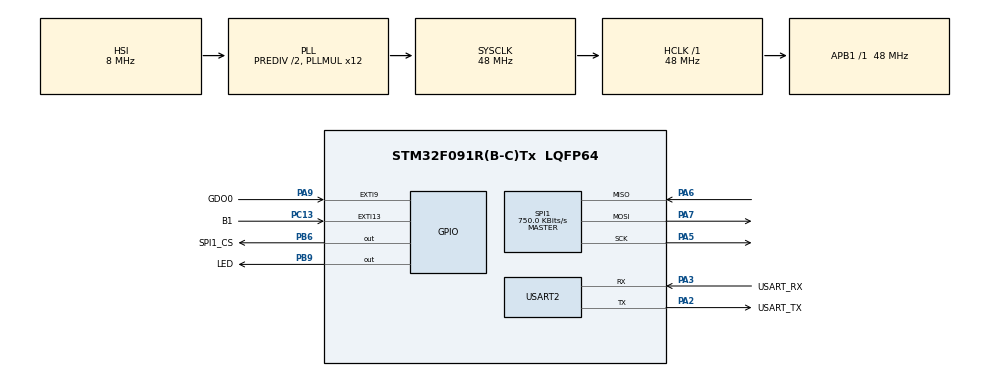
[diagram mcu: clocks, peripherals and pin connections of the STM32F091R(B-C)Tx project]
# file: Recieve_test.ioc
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Mcu.Family=STM32F0
Mcu.Name=STM32F091R(B-C)Tx
Mcu.Package=LQFP64
NVIC.EXTI4_15_IRQn=true\:0\:0\:false\:false\:true\:true\:true\:true
PA13.GPIO_Label=TMS
PA13.Mode=Serial_Wire
PA13.Signal=SYS_SWDIO
PA14.GPIO_Label=TCK
PA14.Mode=Serial_Wire
PA14.Signal=SYS_SWCLK
PA2.GPIO_Label=USART_TX
PA2.GPIO_Mode=GPIO_MODE_AF_PP
PA2.GPIO_PuPd=GPIO_NOPULL
PA2.GPIO_Speed=GPIO_SPEED_FREQ_LOW
PA2.Mode=Asynchronous
PA2.Signal=USART2_TX
PA3.GPIO_Label=USART_RX
PA3.GPIO_Mode=GPIO_MODE_AF_PP
PA3.GPIO_PuPd=GPIO_NOPULL
PA3.GPIO_Speed=GPIO_SPEED_FREQ_LOW
PA3.Mode=Asynchronous
PA3.Signal=USART2_RX
PA5.Mode=Full_Duplex_Master
PA5.Signal=SPI1_SCK
PA6.Mode=Full_Duplex_Master
PA6.Signal=SPI1_MISO
PA7.Mode=Full_Duplex_Master
PA7.Signal=SPI1_MOSI
PA9.GPIO_Label=GDO0
PA9.GPIO_ModeDefaultEXTI=GPIO_MODE_IT_RISING
PA9.Signal=GPXTI9
PB6.GPIO_Label=SPI1_CS
PB6.PinState=GPIO_PIN_SET
PB6.Signal=GPIO_Output
PB9.GPIO_Label=LED
PB9.Signal=GPIO_Output
PC13.GPIO_Label=B1
PC13.GPIO_ModeDefaultEXTI=GPIO_MODE_IT_FALLING
PC13.Signal=GPXTI13
PC14OSC32_IN.Mode=LSE-External-Oscillator
PC14OSC32_IN.Signal=RCC_OSC32_IN
PC15OSC32_OUT.Mode=LSE-External-Oscillator
PC15OSC32_OUT.Signal=RCC_OSC32_OUT
PF0-OSC_IN.Mode=HSE-External-Clock-Source
PF0-OSC_IN.Signal=RCC_OSC_IN
PF1-OSC_OUT.Signal=RCC_OSC_OUT
ProjectManager.HeapSize=0x200
ProjectManager.StackSize=0x400
ProjectManager.TargetToolchain=STM32CubeIDE
RCC.AHBFreq_Value=48000000
RCC.APB1Freq_Value=48000000
RCC.APB1TimFreq_Value=48000000
RCC.FLatency-AdvancedSettings=FLASH_LATENCY_1
RCC.HCLKFreq_Value=48000000
RCC.PLLDivider=RCC_PREDIV_DIV2
RCC.PLLMUL=RCC_PLL_MUL12
RCC.PREFETCH_ENABLE-AdvancedSettings=1
RCC.SYSCLKFreq_VALUE=48000000
RCC.SYSCLKSource=RCC_SYSCLKSOURCE_PLLCLK
SPI1.BaudRatePrescaler=SPI_BAUDRATEPRESCALER_64
SPI1.CalculateBaudRate=750.0 KBits/s
SPI1.DataSize=SPI_DATASIZE_8BIT
SPI1.Direction=SPI_DIRECTION_2LINES
SPI1.Mode=SPI_MODE_MASTER
SPI1.NSSPMode=SPI_NSS_PULSE_DISABLE
SPI1.VirtualType=VM_MASTER
TIM16.Period=65536-1
TIM16.Prescaler=192-1
USART2.VirtualMode=VM_ASYNC
USART2.VirtualMode-Asynchronous=VM_ASYNC
VP_TIM16_VS_ClockSourceINT.Mode=Enable_Timer
board=NUCLEO-F091RC

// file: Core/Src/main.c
/* USER CODE BEGIN Header */
/**
  ******************************************************************************
  * @file           : main.c
  * @brief          : Main program body
  ******************************************************************************
  * @attention
  *
  * <h2><center>&copy; Copyright (c) 2021 STMicroelectronics.
  * All rights reserved.</center></h2>
  *
  * This software component is licensed by ST under BSD 3-Clause license,
  * the "License"; You may not use this file except in compliance with the
  * License. You may obtain a copy of the License at:
  *                        opensource.org/licenses/BSD-3-Clause
  *
  ******************************************************************************
  */
/* USER CODE END Header */

#include "main.h"

/* USER CODE BEGIN Includes */
#include <stdio.h>
#include <string.h>
#include <time.h>
/* USER CODE END Includes */

/* USER CODE BEGIN PD */

// FIFO REGISTERS
#define TX_FIFO        0x3F
#define RX_FIF0 	   0x3F

//REGISTER TYPES
#define STATUS_REGISTER  0xC0
#define CONFIG_REGISTER  0x80

//HEADERS (for read and write commands)
// No special header for write single since its header is zero
#define WRITE_BURST              0x40
#define READ_SINGLE              0x80
#define READ_BURST               0xC0

// COMMAND STROBES
#define STX                      0x35
#define SFTX					 0x3B
#define SRX               		 0x34
#define SFRX					 0x3A
#define SIDLE 					 0x36

// STATUS REGISTERS
#define PARTNUM        0x30        //PARTNUM Part number for CC1101
#define VERSION        0x31        //VERSION Current version number
#define FREQEST        0x32        //FREQEST Frequency Offset Estimate
#define LQI            0x33        //LQI Demodulator estimate for Link Quality
#define RSSI           0x34        //RSSI Received signal strength indication
#define MARCSTATE      0x35        //MARCSTATE Control state machine state
#define WORTIME1       0x36        //WORTIME1 High byte of WOR timer
#define WORTIME0       0x37        //WORTIME0 Low byte of WOR timer
#define PKTSTATUS      0x38        //PKTSTATUS Current GDOx status and packet status
#define VCO_VC_DAC     0x39        //VCO_VC_DAC Current setting from PLL calibration module
#define TXBYTES        0x3A        //TXBYTES Underflow and number of bytes in the TX FIFO
#define RXBYTES        0x3B        //RXBYTES Overflow and number of bytes in the RX FIFO
#define RCCTRL1_STATUS 0x3C        //RCCTRL1_STATUS Last RC oscillator calibration result
#define RCCTRL0_STATUS 0x3D        //RCCTRL0_STATUS Last RC oscillator calibration result

// CONFIGURATION REGISTERS
#define IOCFG2         0x00        //GDO2 output pin configuration
#define IOCFG1         0x01        //GDO1 output pin configuration
#define IOCFG0         0x02        //GDO0 output pin configuration
#define FIFOTHR        0x03        //RX FIFO and TX FIFO thresholds
#define SYNC1          0x04        //Sync word, high byte
#define SYNC0          0x05        //Sync word, low byte
#define PKTLEN         0x06        //Packet length
#define PKTCTRL1       0x07        //Packet automation control
#define PKTCTRL0       0x08        //Packet automation control
#define ADDR           0x09        //Device address
#define CHANNR         0x0A        //Channel number
#define FSCTRL1        0x0B        //Frequency synthesizer control
#define FSCTRL0        0x0C        //Frequency synthesizer control
#define FREQ2          0x0D        //Frequency control word, high byte
#define FREQ1          0x0E        //Frequency control word, middle byte
#define FREQ0          0x0F        //Frequency control word, low byte
#define MDMCFG4        0x10        //Modem configuration
#define MDMCFG3        0x11        //Modem configuration
#define MDMCFG2        0x12        //Modem configuration
#define MDMCFG1        0x13        //Modem configuration
#define MDMCFG0        0x14        //Modem configuration
#define DEVIATN        0x15        //Modem deviation setting
#define MCSM2          0x16        //Main Radio Control State Machine configuration
#define MCSM1          0x17        //Main Radio Control State Machine configuration
#define MCSM0          0x18        //Main Radio Control State Machine configuration
#define FOCCFG         0x19        //Frequency Offset Compensation configuration
#define BSCFG          0x1A        //Bit Synchronization configuration
#define AGCCTRL2       0x1B        //AGC control
#define AGCCTRL1       0x1C        //AGC control
#define AGCCTRL0       0x1D        //AGC control
#define WOREVT1        0x1E        //High byte Event 0 timeout
#define WOREVT0        0x1F        //Low byte Event 0 timeout
#define WORCTRL        0x20        //Wake On Radio control
#define FREND1         0x21        //Front end RX configuration
#define FREND0         0x22        //Front end TX configuration
#define FSCAL3         0x23        //Frequency synthesizer calibration
#define FSCAL2         0x24        //Frequency synthesizer calibration
#define FSCAL1         0x25        //Frequency synthesizer calibration
#define FSCAL0         0x26        //Frequency synthesizer calibration
#define RCCTRL1        0x27        //RC oscillator configuration
#define RCCTRL0        0x28        //RC oscillator configuration
#define FSTEST         0x29        //Frequency synthesizer calibration control
#define PTEST          0x2A        //Production test
#define AGCTEST        0x2B        //AGC test
#define TEST2          0x2C        //Various test settings
#define TEST1          0x2D        //Various test settings
#define TEST0          0x2E        //Various test settings
/* USER CODE END PD */

SPI_HandleTypeDef hspi1;

TIM_HandleTypeDef htim16;

UART_HandleTypeDef huart2;

/* USER CODE BEGIN PV */
int state = 1;
int prev_state = 0;
int gone_rx = 1;
char SPI_BUFFER[8];
char MSG[1000];
int *pos = MSG;
int RX_BUFFER[66];
uint16_t timer_val;
int recieved_packets = 0;

/* USER CODE END PV */

void SystemClock_Config(void);
static void MX_GPIO_Init(void);
static void MX_USART2_UART_Init(void);
static void MX_SPI1_Init(void);
static void MX_TIM16_Init(void);

/* USER CODE BEGIN 0 */

// Select CS
void CS_Select()  {
	HAL_GPIO_WritePin(SPI1_CS_GPIO_Port, SPI1_CS_Pin,GPIO_PIN_RESET);
}

// Deselect CS
void CS_Deselect()  {
	HAL_GPIO_WritePin(SPI1_CS_GPIO_Port, SPI1_CS_Pin,GPIO_PIN_SET);
}

// Waits until MISO goes low
void wait_Miso() {
	while(HAL_GPIO_ReadPin(GPIOA,GPIO_PIN_6)>0){

	}
}

//Write to register
void writeReg(uint8_t regAddr, uint8_t value)
{
  CS_Select();                     									   // Select CS
  wait_Miso();                          							   // Wait until MISO goes low
  HAL_SPI_Transmit(&hspi1, (uint8_t*)&regAddr, 1, 100);                // Send register address
  HAL_SPI_Transmit(&hspi1, (uint8_t*)&value, 1, 100);                  // Send value
  CS_Deselect();                    	   							   // Deselect CC1101
}

// Write to register (ONLY USED FOR SETTING THE INTIAL SETTINGS. The name is "halRfWriteReg" so it matches with SMARTRF Studio
void halRfWriteReg(uint8_t setting, uint8_t value)
{
	writeReg(setting, value);
}

// Send command strobe (FIFO_BYTES_AVAILABLE CASE 1)
void command_strobe1(uint8_t cmd){
    cmd = cmd | 0x00;                									// | 0x00 means that R/W=0(FIFO_BYTES_AVAILABLE means the TXFIFO when status byte has been sent)/ burst=0(strobe)
    CS_Select();            		 									// set the CS pin to LOW
    wait_Miso();                          								// Wait until MISO goes low
    HAL_SPI_Transmit(&hspi1, (uint8_t*)&cmd, 1, 100);                   // Send register address
    CS_Deselect();
  }

// Send data
void send_data(char databuffer[],uint8_t length ){
	int i;
	uint8_t element;
	CS_Select();                		 								// set the CS pin to LOW
    wait_Miso();                         								// Wait until MISO goes low
    uint8_t TXfifo = TX_FIFO;
    HAL_SPI_Transmit(&hspi1, (uint8_t*)&TXfifo, 1, 100);               // Access the TX_FIFO register
    HAL_SPI_Transmit(&hspi1, (uint8_t*)&length, 1, 100);				// Send length of data
    for (i = 0; i < length; ++i)
        {
          element = databuffer[i];
		  HAL_SPI_Transmit(&hspi1, (uint8_t*)&TXfifo, 1, 100);               // Send the data
		  HAL_SPI_Transmit(&hspi1, (uint8_t*)&element, 1, 100);                  // Send data
        }
    CS_Deselect();
}
// Send data with sequence numbers
void send_data_sequence(char databuffer[],uint8_t length,uint16_t sequence ){
	int i;
	uint8_t element;
	uint8_t LSB_seq;
	uint8_t MSB_seq;
	LSB_seq = sequence & 0xFF;
	MSB_seq = sequence >> 8;
	CS_Select();                		 								// set the CS pin to LOW
    wait_Miso();                         								// Wait until MISO goes low
    uint8_t TXfifo = TX_FIFO;
    HAL_SPI_Transmit(&hspi1, (uint8_t*)&TXfifo, 1, 100);               // Access the TX_FIFO register
    HAL_SPI_Transmit(&hspi1, (uint8_t*)&length, 1, 100);			   // Send length of data
    HAL_SPI_Transmit(&hspi1, (uint8_t*)&TXfifo, 1, 100);               // Access the TX_FIFO register
    HAL_SPI_Transmit(&hspi1, (uint8_t*)&MSB_seq, 1, 100);			   // Send MSB of sequence number
    HAL_SPI_Transmit(&hspi1, (uint8_t*)&TXfifo, 1, 100);               // Access the TX_FIFO register
    HAL_SPI_Transmit(&hspi1, (uint8_t*)&LSB_seq, 1, 100);			   // Send LSB of sequence number
    for (i = 0; i < length-2; ++i)
        {
          element = databuffer[i];
		  HAL_SPI_Transmit(&hspi1, (uint8_t*)&TXfifo, 1, 100);               // Send the data
		  HAL_SPI_Transmit(&hspi1, (uint8_t*)&element, 1, 100);                  // Send data
        }
    CS_Deselect();
}
// Read register
void readReg(uint8_t regAddr, uint8_t regType) {
    uint8_t addr;
    addr = regAddr | regType;			  								 // Bitwise and to get the right address
    CS_Select();                										 // set the SS pin to LOW
    wait_Miso();                          								 // Wait until MISO goes low
    HAL_SPI_Transmit(&hspi1, (uint8_t*)&addr, 1, 100);                   // Send register address
    HAL_SPI_Receive(&hspi1, (uint8_t*)&SPI_BUFFER, 1, 100);            	 // Read result (need to send dummy message)
    CS_Deselect();                    							 		 // set the SS pin to HIGH

}

//Read len amount of registers starting at regAddr into buffer
void readRegBurst(int buffer[], uint8_t regAddr, uint8_t len)
{
  uint8_t addr;
  int i;
  addr = regAddr | READ_BURST;
  CS_Select();                      								   // Select CS
  wait_Miso();                          							   // Wait until MISO goes low
  HAL_SPI_Transmit(&hspi1, (uint8_t*)&addr, 1, 100);                   // Send register address
  for (i = 0; i < len; ++i)
  	  {
	  HAL_SPI_Receive(&hspi1, (uint8_t*)&buffer[i], 1, 100);   		   	   // Read data and store in buffer
  	  }
  CS_Deselect();                   									   // Deselect CS
}

/* USER CODE END 0 */

int main(void)
{
  /* USER CODE BEGIN 1 */
 int bytes_in_RXFIFO;
 int i;
  /* USER CODE END 1 */

  /* MCU Configuration--------------------------------------------------------*/

  /* Reset of all peripherals, Initializes the Flash interface and the Systick. */
  HAL_Init();

  /* Configure the system clock */
  SystemClock_Config();

  /* Initialize all configured peripherals */
  MX_GPIO_Init();
  MX_USART2_UART_Init();
  MX_SPI1_Init();
  MX_TIM16_Init();
  /* USER CODE BEGIN 2 */
  //Code is Karls interpretation
  CS_Deselect();
  sprintf(MSG, "Serial Monitor Engaged\r\n");//Stores the string is MSG
  HAL_UART_Transmit(&huart2, MSG, sizeof(MSG), 100);//Sends message to debug
  memset(MSG, 0, sizeof (MSG));//Sets all bits of MSG to 0 i.e. clearing the buffer

  readReg(MARCSTATE, STATUS_REGISTER);//Read register MARCSTATE(internal transciever state) with register type STATUS_REGISTER, value is put into first byte of SPI_BUFFER

  sprintf(MSG,"Tranceiver_state: %i\r\n", (unsigned int)SPI_BUFFER[0]);//Store text+state in MSG
  HAL_UART_Transmit(&huart2, MSG, sizeof(MSG), 100);//Send to debug, uart is debugg
  memset(MSG, 0, sizeof MSG);//clear the buffer
  // Start timer
  HAL_TIM_Base_Start(&htim16);

  //RF-chip SETUP SETTINGS (Imported from SMART RF Studios)
  halRfWriteReg(IOCFG2,0x06);    //GDO2 Output Pin Configuration
  halRfWriteReg(IOCFG0,0x06);    //GDO0 Output Pin Configuration
  halRfWriteReg(FIFOTHR,0x4C);   //RX FIFO and TX FIFO Thresholds
  halRfWriteReg(FSCTRL1,0x08);   //Frequency Synthesizer Control
  halRfWriteReg(FREQ2,0x10);     //Frequency Control Word, High Byte
  halRfWriteReg(FREQ1,0xEA);     //Frequency Control Word, Middle Byte
  halRfWriteReg(FREQ0,0x56);     //Frequency Control Word, Low Byte
  halRfWriteReg(MDMCFG4,0x7B);   //Modem Configuration
  halRfWriteReg(MDMCFG3,0x83);   //Modem Configuration
  halRfWriteReg(MDMCFG2,0x13);   //Modem Configuration
  halRfWriteReg(DEVIATN,0x42);   //Modem Deviation Setting
  halRfWriteReg(MCSM0,0x18);     //Main Radio Control State Machine Configuration
  halRfWriteReg(FOCCFG,0x1D);    //Frequency Offset Compensation Configuration
  halRfWriteReg(BSCFG,0x1C);     //Bit Synchronization Configuration
  halRfWriteReg(AGCCTRL2,0xC7);  //AGC Control
  halRfWriteReg(AGCCTRL1,0x00);  //AGC Control
  halRfWriteReg(AGCCTRL0,0xB2);  //AGC Control
  halRfWriteReg(WORCTRL,0xFB);   //Wake On Radio Control
  halRfWriteReg(FREND1,0xB6);    //Front End RX Configuration
  halRfWriteReg(FSCAL3,0xEA);    //Frequency Synthesizer Calibration
  halRfWriteReg(FSCAL2,0x2A);    //Frequency Synthesizer Calibration
  halRfWriteReg(FSCAL1,0x00);    //Frequency Synthesizer Calibration
  halRfWriteReg(FSCAL0,0x1F);    //Frequency Synthesizer Calibration
  halRfWriteReg(AGCTEST,0x3B);   //AGC Test
  halRfWriteReg(TEST2,0x81);     //Various Test Settings
  halRfWriteReg(TEST1,0x35);     //Various Test Settings
  halRfWriteReg(TEST0,0x09);     //Various Test Settings

  command_strobe1(SIDLE);
  command_strobe1(SFRX);

  //Manually setting the inerrupts so they come after RF-chip SETUP SETTINGS
  // The GDO0 pin glitches the uC otherwise. These settings need to be commented out in MX_GPIO_Init()
    HAL_NVIC_SetPriority(EXTI4_15_IRQn, 0, 0);
    HAL_NVIC_EnableIRQ(EXTI4_15_IRQn);
  /* USER CODE END 2 */

  /* Infinite loop */
  /* USER CODE BEGIN WHILE */
  while (1)
  {

	  if (state == 1 && prev_state != 1 ){
		command_strobe1(SIDLE);//Exit recieve(or transmitt) mode
		readReg(MARCSTATE, STATUS_REGISTER);//put transciever state in SPI_BUFFER

		sprintf(MSG, "MCU_state: 1    Tranceiver_state: %i\r\n", (unsigned int)SPI_BUFFER[0]);//Put state of MCU and Transciever in MSG
		HAL_UART_Transmit(&huart2, MSG, sizeof(MSG), 100);//Send MSG to debug
		memset(MSG, 0, sizeof MSG);//Clear MSG

		readReg(RXBYTES, STATUS_REGISTER);//Read number of bytes in FIFO(RX) register
		bytes_in_RXFIFO = SPI_BUFFER[0];//Put amount of bytes in bytes_in_RXFIFO
		sprintf(MSG, "Amount of bytes in FIFORX: %i\r\n", (unsigned int)bytes_in_RXFIFO);//Put amount of bytes in MSG
		HAL_UART_Transmit(&huart2, MSG, sizeof(MSG), 100);//Send MSG to debug
		memset(MSG, 0, sizeof MSG);

		sprintf(MSG, "Recieved packets (CRC ok!): %i\r\n", (unsigned int)recieved_packets);//puts amount of recieved packets in MSG
		timer_val = __HAL_TIM_GET_COUNTER(&htim16);//current time
		HAL_UART_Transmit(&huart2, MSG, sizeof(MSG), 100);//send amount of recieved packets to debug
		timer_val = __HAL_TIM_GET_COUNTER(&htim16) - timer_val;//the time it took to send everything
		memset(MSG, 0, sizeof MSG);

		timer_val = __HAL_TIM_GET_COUNTER(&htim16) - timer_val;//Current time minus the time it took to send MSG?
		sprintf(MSG, "Counter value: %u Time: %u us \r\n", timer_val, timer_val*4);
		HAL_UART_Transmit(&huart2, MSG, sizeof(MSG), 100);
		memset(MSG, 0, sizeof MSG);

		gone_rx = 0;
		prev_state = 1;
		recieved_packets = 0;

	  }
	  if (state == 2 && prev_state != 2){

		  if (gone_rx == 0){
		  command_strobe1(SRX);//Enable RX
		  sprintf(MSG, "Gone to RX\r\n");
		  HAL_UART_Transmit(&huart2, MSG, sizeof(MSG), 100);
		  memset(MSG, 0, sizeof MSG);

		  gone_rx = 1;

		  }

		  readReg(MARCSTATE, STATUS_REGISTER);

		  sprintf(MSG, "MCU_state: 2    Tranceiver_state: %i\r\n", (unsigned int)SPI_BUFFER[0]);
		  HAL_UART_Transmit(&huart2, MSG, sizeof(MSG), 100);
		  memset(MSG, 0, sizeof MSG);

		  readReg(RXBYTES, STATUS_REGISTER);
		  sprintf(MSG, "Amount of bytes in FIFORX: %i\r\n", (unsigned int)SPI_BUFFER[0]);
		  HAL_UART_Transmit(&huart2, MSG, sizeof(MSG), 100);
		  memset(MSG, 0, sizeof MSG);

		  prev_state = 2;

	  }

    /* USER CODE END WHILE */

  }
}

void SystemClock_Config(void)
{
  RCC_OscInitTypeDef RCC_OscInitStruct = {0};
  RCC_ClkInitTypeDef RCC_ClkInitStruct = {0};
  RCC_PeriphCLKInitTypeDef PeriphClkInit = {0};

  /** Initializes the CPU, AHB and APB busses clocks
  */
  RCC_OscInitStruct.OscillatorType = RCC_OSCILLATORTYPE_HSI;
  RCC_OscInitStruct.HSIState = RCC_HSI_ON;
  RCC_OscInitStruct.HSICalibrationValue = RCC_HSICALIBRATION_DEFAULT;
  RCC_OscInitStruct.PLL.PLLState = RCC_PLL_ON;
  RCC_OscInitStruct.PLL.PLLSource = RCC_PLLSOURCE_HSI;
  RCC_OscInitStruct.PLL.PLLMUL = RCC_PLL_MUL12;
  RCC_OscInitStruct.PLL.PREDIV = RCC_PREDIV_DIV2;
  if (HAL_RCC_OscConfig(&RCC_OscInitStruct) != HAL_OK)
  {
    Error_Handler();
  }
  /** Initializes the CPU, AHB and APB busses clocks
  */
  RCC_ClkInitStruct.ClockType = RCC_CLOCKTYPE_HCLK|RCC_CLOCKTYPE_SYSCLK
                              |RCC_CLOCKTYPE_PCLK1;
  RCC_ClkInitStruct.SYSCLKSource = RCC_SYSCLKSOURCE_PLLCLK;
  RCC_ClkInitStruct.AHBCLKDivider = RCC_SYSCLK_DIV1;
  RCC_ClkInitStruct.APB1CLKDivider = RCC_HCLK_DIV1;

  if (HAL_RCC_ClockConfig(&RCC_ClkInitStruct, FLASH_LATENCY_1) != HAL_OK)
  {
    Error_Handler();
  }
  PeriphClkInit.PeriphClockSelection = RCC_PERIPHCLK_USART2;
  PeriphClkInit.Usart2ClockSelection = RCC_USART2CLKSOURCE_PCLK1;
  if (HAL_RCCEx_PeriphCLKConfig(&PeriphClkInit) != HAL_OK)
  {
    Error_Handler();
  }
}

static void MX_SPI1_Init(void)
{

  /* SPI1 parameter configuration*/
  hspi1.Instance = SPI1;
  hspi1.Init.Mode = SPI_MODE_MASTER;
  hspi1.Init.Direction = SPI_DIRECTION_2LINES;
  hspi1.Init.DataSize = SPI_DATASIZE_8BIT;
  hspi1.Init.CLKPolarity = SPI_POLARITY_LOW;
  hspi1.Init.CLKPhase = SPI_PHASE_1EDGE;
  hspi1.Init.NSS = SPI_NSS_SOFT;
  hspi1.Init.BaudRatePrescaler = SPI_BAUDRATEPRESCALER_64;
  hspi1.Init.FirstBit = SPI_FIRSTBIT_MSB;
  hspi1.Init.TIMode = SPI_TIMODE_DISABLE;
  hspi1.Init.CRCCalculation = SPI_CRCCALCULATION_DISABLE;
  hspi1.Init.CRCPolynomial = 7;
  hspi1.Init.CRCLength = SPI_CRC_LENGTH_DATASIZE;
  hspi1.Init.NSSPMode = SPI_NSS_PULSE_DISABLE;
  if (HAL_SPI_Init(&hspi1) != HAL_OK)
  {
    Error_Handler();
  }

}

static void MX_TIM16_Init(void)
{

  htim16.Instance = TIM16;
  htim16.Init.Prescaler = 192-1;
  htim16.Init.CounterMode = TIM_COUNTERMODE_UP;
  htim16.Init.Period = 65536-1;
  htim16.Init.ClockDivision = TIM_CLOCKDIVISION_DIV1;
  htim16.Init.RepetitionCounter = 0;
  htim16.Init.AutoReloadPreload = TIM_AUTORELOAD_PRELOAD_DISABLE;
  if (HAL_TIM_Base_Init(&htim16) != HAL_OK)
  {
    Error_Handler();
  }

}

static void MX_USART2_UART_Init(void)
{

  huart2.Instance = USART2;
  huart2.Init.BaudRate = 115200;
  huart2.Init.WordLength = UART_WORDLENGTH_8B;
  huart2.Init.StopBits = UART_STOPBITS_1;
  huart2.Init.Parity = UART_PARITY_NONE;
  huart2.Init.Mode = UART_MODE_TX_RX;
  huart2.Init.HwFlowCtl = UART_HWCONTROL_NONE;
  huart2.Init.OverSampling = UART_OVERSAMPLING_16;
  huart2.Init.OneBitSampling = UART_ONE_BIT_SAMPLE_DISABLE;
  huart2.AdvancedInit.AdvFeatureInit = UART_ADVFEATURE_NO_INIT;
  if (HAL_UART_Init(&huart2) != HAL_OK)
  {
    Error_Handler();
  }

}

static void MX_GPIO_Init(void)
{
  GPIO_InitTypeDef GPIO_InitStruct = {0};

  /* GPIO Ports Clock Enable */
  __HAL_RCC_GPIOC_CLK_ENABLE();
  __HAL_RCC_GPIOF_CLK_ENABLE();
  __HAL_RCC_GPIOA_CLK_ENABLE();
  __HAL_RCC_GPIOB_CLK_ENABLE();

  /*Configure GPIO pin Output Level */
  HAL_GPIO_WritePin(SPI1_CS_GPIO_Port, SPI1_CS_Pin, GPIO_PIN_SET);

  /*Configure GPIO pin Output Level */
  HAL_GPIO_WritePin(LED_GPIO_Port, LED_Pin, GPIO_PIN_RESET);

  /*Configure GPIO pin : B1_Pin */
  GPIO_InitStruct.Pin = B1_Pin;
  GPIO_InitStruct.Mode = GPIO_MODE_IT_FALLING;
  GPIO_InitStruct.Pull = GPIO_NOPULL;
  HAL_GPIO_Init(B1_GPIO_Port, &GPIO_InitStruct);

  /*Configure GPIO pin : GDO0_Pin */
  GPIO_InitStruct.Pin = GDO0_Pin;
  GPIO_InitStruct.Mode = GPIO_MODE_IT_RISING;
  GPIO_InitStruct.Pull = GPIO_NOPULL;
  HAL_GPIO_Init(GDO0_GPIO_Port, &GPIO_InitStruct);

  /*Configure GPIO pins : SPI1_CS_Pin LED_Pin */
  GPIO_InitStruct.Pin = SPI1_CS_Pin|LED_Pin;
  GPIO_InitStruct.Mode = GPIO_MODE_OUTPUT_PP;
  GPIO_InitStruct.Pull = GPIO_NOPULL;
  GPIO_InitStruct.Speed = GPIO_SPEED_FREQ_LOW;
  HAL_GPIO_Init(GPIOB, &GPIO_InitStruct);

  /* EXTI interrupt init*/
  //HAL_NVIC_SetPriority(EXTI4_15_IRQn, 0, 0);
  //HAL_NVIC_EnableIRQ(EXTI4_15_IRQn);

}

/* USER CODE BEGIN 4 */
void  HAL_GPIO_EXTI_Callback(u_int16_t GPIO_Pin){
	int bytes_in_RXFIFO;
	int i;
	int str;

	if (GPIO_Pin == B1_Pin) {//B1_Pin is GPIO_PIN_13, PC13 in ioc file, in his case swap state between 1 and 2
		HAL_GPIO_TogglePin(LED_GPIO_Port, LED_Pin);//Toggle LED
		if (state == 1){
			state = 2;
			  }
		else {
			state = 1;
		}
	}

	if (GPIO_Pin == GDO0_Pin){//GDO0_Pin is GPIO_PIN_9, in ioc file it is PA9
		//timer_val = __HAL_TIM_GET_COUNTER(&htim16);
		while(HAL_GPIO_ReadPin(GDO0_GPIO_Port,GDO0_Pin)>0){//Wait until GDO0 is low, then read data to SPI_BUFFER
						i += 1;
					}
		readReg(RXBYTES, STATUS_REGISTER);
		bytes_in_RXFIFO = SPI_BUFFER[0];

		if (bytes_in_RXFIFO != 0){//If we have bytes in the FIFO register

			readReg(RXBYTES, STATUS_REGISTER);
			bytes_in_RXFIFO = SPI_BUFFER[0];//amount of bytes in FIFO register

			readRegBurst(RX_BUFFER, RX_FIF0, bytes_in_RXFIFO);//read the actual data to RX_BUFFER

//			*pos = MSG;
//			for (i = 0; i < bytes_in_RXFIFO; ++i)
//			  {
//				  pos += sprintf(pos, " %i", (unsigned int)RX_BUFFER[i]);
//			  }
//			pos += sprintf(pos, "\r\n");
//
//			HAL_UART_Transmit(&huart2, MSG, sizeof(MSG), 100);
//			memset(MSG, 0, sizeof MSG);
//			pos = MSG;

			if (RX_BUFFER[bytes_in_RXFIFO-1] & 0x80){//Bit flag to signal ok data, then increase recieved_packets
				recieved_packets += 1;
//				sprintf(MSG, "CRC OK!\r\n");
//				HAL_UART_Transmit(&huart2, MSG, sizeof(MSG), 100);
//				memset(MSG, 0, sizeof MSG);
			}
			else{
				sprintf(MSG, "CRC NOT OK!\r\n");
				HAL_UART_Transmit(&huart2, MSG, sizeof(MSG), 100);
				memset(MSG, 0, sizeof MSG);
			}

			command_strobe1(SRX);

//			timer_val = __HAL_TIM_GET_COUNTER(&htim16) - timer_val;
//			sprintf(MSG, "Counter value: %u Time: %u us \r\n", timer_val, timer_val*4);
//			HAL_UART_Transmit(&huart2, MSG, sizeof(MSG), 100);
//			memset(MSG, 0, sizeof MSG);
		}
	}

}
/* USER CODE END 4 */

void Error_Handler(void)
{
}

/************************ (C) COPYRIGHT STMicroelectronics *****END OF FILE****/
